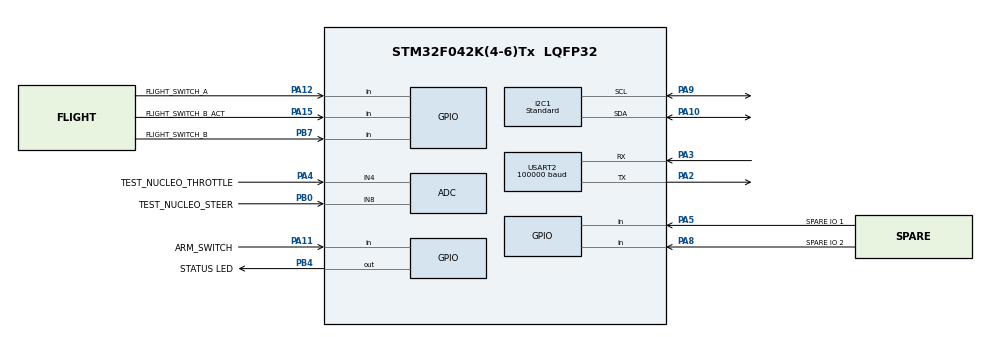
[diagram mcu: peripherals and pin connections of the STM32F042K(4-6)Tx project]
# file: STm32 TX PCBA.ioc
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ADC.ContinuousConvMode=DISABLE
Dma.ADC.0.Direction=DMA_PERIPH_TO_MEMORY
Dma.ADC.0.Instance=DMA1_Channel1
Dma.ADC.0.MemDataAlignment=DMA_MDATAALIGN_WORD
Dma.ADC.0.MemInc=DMA_MINC_ENABLE
Dma.ADC.0.Mode=DMA_CIRCULAR
Dma.ADC.0.PeriphDataAlignment=DMA_PDATAALIGN_WORD
Dma.ADC.0.PeriphInc=DMA_PINC_DISABLE
Dma.ADC.0.Priority=DMA_PRIORITY_LOW
Dma.Request0=ADC
I2C1.I2C_Speed_Mode=I2C_Standard
I2C1.Timing=0x00201D2B
Mcu.Family=STM32F0
Mcu.Name=STM32F042K(4-6)Tx
Mcu.Package=LQFP32
NVIC.ADC1_IRQn=true\:0\:0\:false\:false\:true\:true\:true\:true
NVIC.DMA1_Channel1_IRQn=true\:0\:0\:false\:false\:true\:false\:true\:true
PA10.Mode=I2C
PA10.Signal=I2C1_SDA
PA11.GPIO_Label=ARM_SWITCH
PA11.Signal=GPIO_Input
PA12.GPIO_Label=FLIGHT_SWITCH_A
PA12.Signal=GPIO_Input
PA13.Mode=Serial_Wire
PA13.Signal=SYS_SWDIO
PA14.Mode=Serial_Wire
PA14.Signal=SYS_SWCLK
PA15.GPIO_Label=FLIGHT_SWITCH_B_ACT
PA15.Signal=GPIO_Input
PA2.Mode=Asynchronous
PA2.Signal=USART2_TX
PA3.Mode=Asynchronous
PA3.Signal=USART2_RX
PA4.GPIO_Label=TEST_NUCLEO_THROTTLE
PA4.Mode=IN4
PA4.Signal=ADC_IN4
PA5.GPIO_Label=SPARE IO 1
PA5.Signal=GPIO_Input
PA8.GPIO_Label=SPARE IO 2
PA8.Signal=GPIO_Input
PA9.Mode=I2C
PA9.Signal=I2C1_SCL
PB0.GPIO_Label=TEST_NUCLEO_STEER
PB0.Mode=IN8
PB0.Signal=ADC_IN8
PB4.GPIO_Label=STATUS LED
PB4.Signal=GPIO_Output
PB7.GPIO_Label=FLIGHT_SWITCH_B
PB7.Signal=GPIO_Input
ProjectManager.HeapSize=0x200
ProjectManager.StackSize=0x400
ProjectManager.TargetToolchain=STM32CubeIDE
USART2.BaudRate=100000
USART2.Parity=PARITY_EVEN
USART2.StopBits=STOPBITS_2
USART2.VirtualMode-Asynchronous=VM_ASYNC
USART2.WordLength=WORDLENGTH_9B
board=custom

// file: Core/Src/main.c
/* USER CODE BEGIN Header */
/**
  ******************************************************************************
  * @file           : main.c
  * @brief          : Main program body
  ******************************************************************************
  * @attention
  *
  * Copyright (c) 2025 STMicroelectronics.
  * All rights reserved.
  *
  * This software is licensed under terms that can be found in the LICENSE file
  * in the root directory of this software component.
  * If no LICENSE file comes with this software, it is provided AS-IS.
  *
  ******************************************************************************
  */
/* USER CODE END Header */
#include "main.h"

/* USER CODE BEGIN Includes */
#include <stdbool.h>
#include <stdint.h>
#include <stdio.h>
#include "ssd1306.h"
#include "ssd1306_fonts.h"
/* USER CODE END Includes */

/* USER CODE BEGIN PD */
#define RC_CHANNEL_MIN      990
#define RC_CHANNEL_MAX      2010
#define RC_RAW_MIN          1000
#define RC_RAW_MAX          2000
#define LED_TIME            300
#define SBUS_MIN_OFFSET     173
#define SBUS_MID_OFFSET     992
#define SBUS_MAX_OFFSET     1811
#define SBUS_CHANNEL_NUMBER 16
#define SBUS_PACKET_LENGTH  25
#define SBUS_FRAME_HEADER   0x0f
#define SBUS_FRAME_FOOTER   0x00
#define SBUS_FRAME_FOOTER_V2 0x04
#define SBUS_STATE_FAILSAFE  0x08
#define SBUS_STATE_SIGNALLOSS 0x04
#define SBUS_UPDATE_RATE    15   // ms
#define ADC_DEADBAND        40
#define ADC_CENTRE          2048
#define DISPLAY_UPDATE_RATE 100  // ms

// OLED display layout
#define SLIDER_X_START      28   // pixels from left (after label)
#define SLIDER_X_END        127  // pixels from left (right edge)
#define SLIDER_WIDTH        (SLIDER_X_END - SLIDER_X_START)
#define SLIDER_HEIGHT       8    // pixels tall
#define SLIDER_STEER_Y      26
#define SLIDER_THROTTLE_Y   42
/* USER CODE END PD */

ADC_HandleTypeDef hadc;
DMA_HandleTypeDef hdma_adc;

I2C_HandleTypeDef hi2c1;

UART_HandleTypeDef huart2;

/* USER CODE BEGIN PV */
uint32_t adcDmaBuffer[2];  // [0] = CH4 throttle (PA4), [1] = CH8 steer (PB0)
/* USER CODE END PV */

void SystemClock_Config(void);
static void MX_GPIO_Init(void);
static void MX_DMA_Init(void);
static void MX_USART2_UART_Init(void);
static void MX_ADC_Init(void);
static void MX_I2C1_Init(void);

/* USER CODE BEGIN 0 */

// Map integer from one range to another
static inline int map_int(int x, int in_min, int in_max, int out_min, int out_max) {
    return (x - in_min) * (out_max - out_min) / (in_max - in_min) + out_min;
}

// Apply centre deadband to raw ADC value
static inline int applyDeadband(uint32_t raw) {
    if (raw > ADC_CENTRE - ADC_DEADBAND && raw < ADC_CENTRE + ADC_DEADBAND)
        return ADC_CENTRE;
    return (int)raw;
}

void sbusPreparePacket(uint8_t packet[], int channels[], bool isSignalLoss, bool isFailsafe) {

    static int output[SBUS_CHANNEL_NUMBER] = {0};

    /*
     * Map 1000-2000 with middle at 1500 channel values to
     * 173-1811 with middle at 992 as S.BUS protocol requires
     */
    for (uint8_t i = 0; i < SBUS_CHANNEL_NUMBER; i++) {
        output[i] = map_int(channels[i], RC_CHANNEL_MIN, RC_CHANNEL_MAX, SBUS_MIN_OFFSET, SBUS_MAX_OFFSET);
    }

    uint8_t stateByte = 0x00;
    if (isSignalLoss) stateByte |= SBUS_STATE_SIGNALLOSS;
    if (isFailsafe)   stateByte |= SBUS_STATE_FAILSAFE;

    packet[0]  = SBUS_FRAME_HEADER;
    packet[1]  = (uint8_t) (output[0] & 0x07FF);
    packet[2]  = (uint8_t) ((output[0] & 0x07FF)>>8  | (output[1] & 0x07FF)<<3);
    packet[3]  = (uint8_t) ((output[1] & 0x07FF)>>5  | (output[2] & 0x07FF)<<6);
    packet[4]  = (uint8_t) ((output[2] & 0x07FF)>>2);
    packet[5]  = (uint8_t) ((output[2] & 0x07FF)>>10 | (output[3] & 0x07FF)<<1);
    packet[6]  = (uint8_t) ((output[3] & 0x07FF)>>7  | (output[4] & 0x07FF)<<4);
    packet[7]  = (uint8_t) ((output[4] & 0x07FF)>>4  | (output[5] & 0x07FF)<<7);
    packet[8]  = (uint8_t) ((output[5] & 0x07FF)>>1);
    packet[9]  = (uint8_t) ((output[5] & 0x07FF)>>9  | (output[6] & 0x07FF)<<2);
    packet[10] = (uint8_t) ((output[6] & 0x07FF)>>6  | (output[7] & 0x07FF)<<5);
    packet[11] = (uint8_t) ((output[7] & 0x07FF)>>3);
    packet[12] = (uint8_t) ((output[8] & 0x07FF));
    packet[13] = (uint8_t) ((output[8] & 0x07FF)>>8  | (output[9] & 0x07FF)<<3);
    packet[14] = (uint8_t) ((output[9] & 0x07FF)>>5  | (output[10] & 0x07FF)<<6);
    packet[15] = (uint8_t) ((output[10] & 0x07FF)>>2);
    packet[16] = (uint8_t) ((output[10] & 0x07FF)>>10 | (output[11] & 0x07FF)<<1);
    packet[17] = (uint8_t) ((output[11] & 0x07FF)>>7  | (output[12] & 0x07FF)<<4);
    packet[18] = (uint8_t) ((output[12] & 0x07FF)>>4  | (output[13] & 0x07FF)<<7);
    packet[19] = (uint8_t) ((output[13] & 0x07FF)>>1);
    packet[20] = (uint8_t) ((output[13] & 0x07FF)>>9  | (output[14] & 0x07FF)<<2);
    packet[21] = (uint8_t) ((output[14] & 0x07FF)>>6  | (output[15] & 0x07FF)<<5);
    packet[22] = (uint8_t) ((output[15] & 0x07FF)>>3);
    packet[23] = stateByte;
    packet[24] = SBUS_FRAME_FOOTER;
}

// Returns 1950 (armed) or 1150 (disarmed)
int getArm(void) {
    return (!HAL_GPIO_ReadPin(ARM_SWITCH_GPIO_Port, ARM_SWITCH_Pin)) ? 1950 : 1150;
}

// Returns RC value for flight mode: Hold=1165, Manual=1425, Auto=1815
int getMode(void) {
    if (!HAL_GPIO_ReadPin(FLIGHT_SWITCH_A_GPIO_Port, FLIGHT_SWITCH_A_Pin))
        return 1815;  // Auto
    else if (!HAL_GPIO_ReadPin(FLIGHT_SWITCH_B_GPIO_Port, FLIGHT_SWITCH_B_Pin))
        return 1165;  // Hold
    else
        return 1425;  // Manual (default/middle)
}

// Draw a horizontal slider bar on the OLED
// rc_val: 1000-2000, y_pos: top pixel of the bar
static void drawSlider(int rc_val, uint8_t y_pos) {
    // Outer border
    ssd1306_DrawRectangle(SLIDER_X_START, y_pos, SLIDER_X_END, y_pos + SLIDER_HEIGHT, White);

    // Thumb position: map rc_val 1000-2000 to pixel range
    int thumb_x = map_int(rc_val, RC_RAW_MIN, RC_RAW_MAX, SLIDER_X_START + 1, SLIDER_X_END - 4);

    // Filled thumb (4px wide)
    ssd1306_FillRectangle(thumb_x, y_pos + 1, thumb_x + 3, y_pos + SLIDER_HEIGHT - 1, White);
}

// Update the OLED with current rc channel values
static void updateDisplay(int steer_rc, int throttle_rc, int arm_val, int mode_val) {
    ssd1306_Fill(Black);

    // --- Top row: arm state and mode label ---
    const char *arm_str  = (arm_val  > 1500) ? "ARMED" : "DISARM";
    const char *mode_str;
    if      (mode_val > 1600) mode_str = "GUIDED";
    else if (mode_val < 1300) mode_str = "MANUAL";
    else                      mode_str = "HOLD";

    ssd1306_SetCursor(0, 0);
    ssd1306_WriteString(arm_str, Font_7x10, White);
    ssd1306_SetCursor(80, 0);
    ssd1306_WriteString(mode_str, Font_7x10, White);

    // --- Steer slider ---
    ssd1306_SetCursor(0, SLIDER_STEER_Y);
    ssd1306_WriteString("STR", Font_7x10, White);
    drawSlider(steer_rc, SLIDER_STEER_Y);

    // --- Throttle slider ---
    ssd1306_SetCursor(0, SLIDER_THROTTLE_Y);
    ssd1306_WriteString("THR", Font_7x10, White);
    drawSlider(throttle_rc, SLIDER_THROTTLE_Y);

    ssd1306_UpdateScreen();
}

/* USER CODE END 0 */

int main(void)
{

  /* MCU Configuration--------------------------------------------------------*/

  /* Reset of all peripherals, Initializes the Flash interface and the Systick. */
  HAL_Init();

  /* Configure the system clock */
  SystemClock_Config();

  /* Initialize all configured peripherals */
  MX_GPIO_Init();
  MX_DMA_Init();
  MX_USART2_UART_Init();
  MX_ADC_Init();
  MX_I2C1_Init();
  /* USER CODE BEGIN 2 */

  HAL_Delay(200);
  HAL_GPIO_WritePin(STATUS_LED_GPIO_Port, STATUS_LED_Pin, GPIO_PIN_SET);
  HAL_Delay(500);
  HAL_GPIO_WritePin(STATUS_LED_GPIO_Port, STATUS_LED_Pin, GPIO_PIN_RESET);

  // Start ADC in DMA circular mode — buffer updates continuously
  HAL_ADC_Start_DMA(&hadc, adcDmaBuffer, 2);
  __HAL_DMA_DISABLE_IT(&hdma_adc, DMA_IT_TC | DMA_IT_HT);

  // Init OLED
  HAL_Delay(500);  // let display power up
  ssd1306_Init();

  uint8_t  sbusPacket[SBUS_PACKET_LENGTH];
  int      rcChannels[SBUS_CHANNEL_NUMBER];
  uint32_t sbusTime    = 0;
  uint32_t ledTime     = 0;
  uint32_t displayTime = 0;
  uint8_t  ledState    = 0;

  for (int i = 0; i < SBUS_CHANNEL_NUMBER; i++) {
      rcChannels[i] = 1500;  // safe mid value
  }

  /* USER CODE END 2 */

  /* Infinite loop */
  while (1)
  {

    /* USER CODE BEGIN 3 */

    uint32_t now = HAL_GetTick();

    // --- SBUS transmit at 15ms ---
    if (now - sbusTime >= SBUS_UPDATE_RATE) {

        uint32_t steer    = applyDeadband(adcDmaBuffer[1]);  // CH8 PB0
        uint32_t throttle = applyDeadband(adcDmaBuffer[0]);  // CH4 PA4

        rcChannels[0] = map_int(steer,    0, 4095, RC_RAW_MIN, RC_RAW_MAX);
        rcChannels[2] = map_int(throttle, 0, 4095, RC_RAW_MIN, RC_RAW_MAX);
        rcChannels[5] = getArm();
        rcChannels[7] = getMode();

        sbusPreparePacket(sbusPacket, rcChannels, false, false);
        HAL_UART_Transmit(&huart2, sbusPacket, SBUS_PACKET_LENGTH, 5);

        sbusTime = now;
    }

    // --- OLED update at 100ms ---
    if (now - displayTime >= DISPLAY_UPDATE_RATE) {
        updateDisplay(rcChannels[0], rcChannels[2], rcChannels[5], rcChannels[7]);
        displayTime = now;
    }

    // --- Status LED toggle at 300ms ---
    if (now - ledTime > LED_TIME) {
        ledState = !ledState;
        HAL_GPIO_WritePin(STATUS_LED_GPIO_Port, STATUS_LED_Pin,
                          ledState ? GPIO_PIN_SET : GPIO_PIN_RESET);
        ledTime = now;
    }

  }
  /* USER CODE END 3 */
}

void SystemClock_Config(void)
{
  RCC_OscInitTypeDef RCC_OscInitStruct = {0};
  RCC_ClkInitTypeDef RCC_ClkInitStruct = {0};
  RCC_PeriphCLKInitTypeDef PeriphClkInit = {0};

  /** Initializes the RCC Oscillators according to the specified parameters
  * in the RCC_OscInitTypeDef structure.
  */
  RCC_OscInitStruct.OscillatorType = RCC_OSCILLATORTYPE_HSI|RCC_OSCILLATORTYPE_HSI14;
  RCC_OscInitStruct.HSIState = RCC_HSI_ON;
  RCC_OscInitStruct.HSI14State = RCC_HSI14_ON;
  RCC_OscInitStruct.HSICalibrationValue = RCC_HSICALIBRATION_DEFAULT;
  RCC_OscInitStruct.HSI14CalibrationValue = 16;
  RCC_OscInitStruct.PLL.PLLState = RCC_PLL_NONE;
  if (HAL_RCC_OscConfig(&RCC_OscInitStruct) != HAL_OK)
  {
    Error_Handler();
  }

  /** Initializes the CPU, AHB and APB buses clocks
  */
  RCC_ClkInitStruct.ClockType = RCC_CLOCKTYPE_HCLK|RCC_CLOCKTYPE_SYSCLK
                              |RCC_CLOCKTYPE_PCLK1;
  RCC_ClkInitStruct.SYSCLKSource = RCC_SYSCLKSOURCE_HSI;
  RCC_ClkInitStruct.AHBCLKDivider = RCC_SYSCLK_DIV1;
  RCC_ClkInitStruct.APB1CLKDivider = RCC_HCLK_DIV1;

  if (HAL_RCC_ClockConfig(&RCC_ClkInitStruct, FLASH_LATENCY_0) != HAL_OK)
  {
    Error_Handler();
  }
  PeriphClkInit.PeriphClockSelection = RCC_PERIPHCLK_I2C1;
  PeriphClkInit.I2c1ClockSelection = RCC_I2C1CLKSOURCE_HSI;
  if (HAL_RCCEx_PeriphCLKConfig(&PeriphClkInit) != HAL_OK)
  {
    Error_Handler();
  }
}

static void MX_ADC_Init(void)
{

  ADC_ChannelConfTypeDef sConfig = {0};

  /** Configure the global features of the ADC (Clock, Resolution, Data Alignment and number of conversion)
  */
  hadc.Instance = ADC1;
  hadc.Init.ClockPrescaler = ADC_CLOCK_ASYNC_DIV1;
  hadc.Init.Resolution = ADC_RESOLUTION_12B;
  hadc.Init.DataAlign = ADC_DATAALIGN_RIGHT;
  hadc.Init.ScanConvMode = ADC_SCAN_DIRECTION_FORWARD;
  hadc.Init.EOCSelection = ADC_EOC_SINGLE_CONV;
  hadc.Init.LowPowerAutoWait = DISABLE;
  hadc.Init.LowPowerAutoPowerOff = DISABLE;
  hadc.Init.ContinuousConvMode = ENABLE;
  hadc.Init.DiscontinuousConvMode = DISABLE;
  hadc.Init.ExternalTrigConv = ADC_SOFTWARE_START;
  hadc.Init.ExternalTrigConvEdge = ADC_EXTERNALTRIGCONVEDGE_NONE;
  hadc.Init.DMAContinuousRequests = ENABLE;
  hadc.Init.Overrun = ADC_OVR_DATA_PRESERVED;
  if (HAL_ADC_Init(&hadc) != HAL_OK)
  {
    Error_Handler();
  }

  /** Configure for the selected ADC regular channel to be converted.
  */
  sConfig.Channel = ADC_CHANNEL_4;
  sConfig.Rank = ADC_RANK_CHANNEL_NUMBER;
  sConfig.SamplingTime = ADC_SAMPLETIME_71CYCLES_5;
  if (HAL_ADC_ConfigChannel(&hadc, &sConfig) != HAL_OK)
  {
    Error_Handler();
  }

  /** Configure for the selected ADC regular channel to be converted.
  */
  sConfig.Channel = ADC_CHANNEL_8;
  if (HAL_ADC_ConfigChannel(&hadc, &sConfig) != HAL_OK)
  {
    Error_Handler();
  }

}

static void MX_I2C1_Init(void)
{

  hi2c1.Instance = I2C1;
  hi2c1.Init.Timing = 0x00201D2B;
  hi2c1.Init.OwnAddress1 = 0;
  hi2c1.Init.AddressingMode = I2C_ADDRESSINGMODE_7BIT;
  hi2c1.Init.DualAddressMode = I2C_DUALADDRESS_DISABLE;
  hi2c1.Init.OwnAddress2 = 0;
  hi2c1.Init.OwnAddress2Masks = I2C_OA2_NOMASK;
  hi2c1.Init.GeneralCallMode = I2C_GENERALCALL_DISABLE;
  hi2c1.Init.NoStretchMode = I2C_NOSTRETCH_DISABLE;
  if (HAL_I2C_Init(&hi2c1) != HAL_OK)
  {
    Error_Handler();
  }

  /** Configure Analogue filter
  */
  if (HAL_I2CEx_ConfigAnalogFilter(&hi2c1, I2C_ANALOGFILTER_ENABLE) != HAL_OK)
  {
    Error_Handler();
  }

  /** Configure Digital filter
  */
  if (HAL_I2CEx_ConfigDigitalFilter(&hi2c1, 0) != HAL_OK)
  {
    Error_Handler();
  }

}

static void MX_USART2_UART_Init(void)
{

  huart2.Instance = USART2;
  huart2.Init.BaudRate = 100000;
  huart2.Init.WordLength = UART_WORDLENGTH_9B;
  huart2.Init.StopBits = UART_STOPBITS_2;
  huart2.Init.Parity = UART_PARITY_EVEN;
  huart2.Init.Mode = UART_MODE_TX_RX;
  huart2.Init.HwFlowCtl = UART_HWCONTROL_NONE;
  huart2.Init.OverSampling = UART_OVERSAMPLING_16;
  huart2.Init.OneBitSampling = UART_ONE_BIT_SAMPLE_DISABLE;
  huart2.AdvancedInit.AdvFeatureInit = UART_ADVFEATURE_NO_INIT;
  if (HAL_UART_Init(&huart2) != HAL_OK)
  {
    Error_Handler();
  }

}

static void MX_DMA_Init(void)
{

  /* DMA controller clock enable */
  __HAL_RCC_DMA1_CLK_ENABLE();

  /* DMA interrupt init */
  /* DMA1_Channel1_IRQn interrupt configuration */
  HAL_NVIC_SetPriority(DMA1_Channel1_IRQn, 0, 0);
  HAL_NVIC_EnableIRQ(DMA1_Channel1_IRQn);

}

static void MX_GPIO_Init(void)
{
  GPIO_InitTypeDef GPIO_InitStruct = {0};

  /* GPIO Ports Clock Enable */
  __HAL_RCC_GPIOA_CLK_ENABLE();
  __HAL_RCC_GPIOB_CLK_ENABLE();

  /*Configure GPIO pin Output Level */
  HAL_GPIO_WritePin(STATUS_LED_GPIO_Port, STATUS_LED_Pin, GPIO_PIN_RESET);

  /*Configure GPIO pins : SPARE_IO_1_Pin SPARE_IO_2_Pin ARM_SWITCH_Pin FLIGHT_SWITCH_A_Pin
                           FLIGHT_SWITCH_B_ACT_Pin */
  GPIO_InitStruct.Pin = SPARE_IO_1_Pin|SPARE_IO_2_Pin|ARM_SWITCH_Pin|FLIGHT_SWITCH_A_Pin
                          |FLIGHT_SWITCH_B_ACT_Pin;
  GPIO_InitStruct.Mode = GPIO_MODE_INPUT;
  GPIO_InitStruct.Pull = GPIO_NOPULL;
  HAL_GPIO_Init(GPIOA, &GPIO_InitStruct);

  /*Configure GPIO pin : STATUS_LED_Pin */
  GPIO_InitStruct.Pin = STATUS_LED_Pin;
  GPIO_InitStruct.Mode = GPIO_MODE_OUTPUT_PP;
  GPIO_InitStruct.Pull = GPIO_NOPULL;
  GPIO_InitStruct.Speed = GPIO_SPEED_FREQ_LOW;
  HAL_GPIO_Init(STATUS_LED_GPIO_Port, &GPIO_InitStruct);

  /*Configure GPIO pin : FLIGHT_SWITCH_B_Pin */
  GPIO_InitStruct.Pin = FLIGHT_SWITCH_B_Pin;
  GPIO_InitStruct.Mode = GPIO_MODE_INPUT;
  GPIO_InitStruct.Pull = GPIO_NOPULL;
  HAL_GPIO_Init(FLIGHT_SWITCH_B_GPIO_Port, &GPIO_InitStruct);

}

void Error_Handler(void)
{
  /* USER CODE BEGIN Error_Handler_Debug */
  __disable_irq();
  while (1)
  {
      HAL_GPIO_TogglePin(STATUS_LED_GPIO_Port, STATUS_LED_Pin);
      for (volatile int i = 0; i < 80000; i++);  // ~100ms at 8MHz HSI
  }
  /* USER CODE END Error_Handler_Debug */
}
